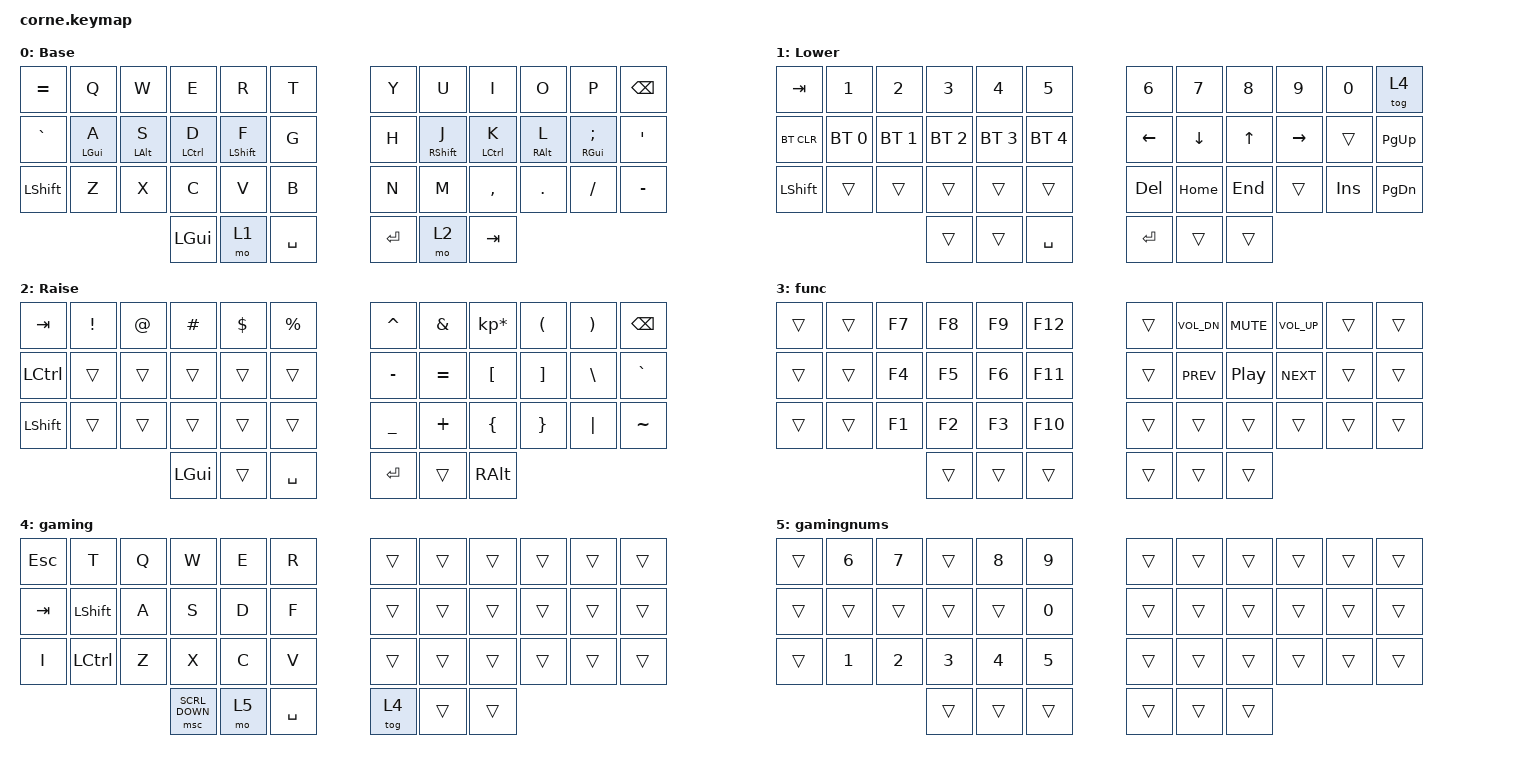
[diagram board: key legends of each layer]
/*
 * Copyright (c) 2020 The ZMK Contributors
 *
 * SPDX-License-Identifier: MIT
 */

#include <behaviors.dtsi>
#include <dt-bindings/zmk/bt.h>
#include <dt-bindings/zmk/keys.h>
#include <dt-bindings/zmk/pointing.h>

&sk { /delete-property/ ignore-modifiers; };

/ {
    combos {
        compatible = "zmk,combos";

        easy_escape {
            bindings = <&kp ESC>;
            key-positions = <19 20>;
        };

        caps_word {
            bindings = <&caps_word>;
            key-positions = <24 35>;
        };
    };

    behaviors {
        hml: hml {
            compatible = "zmk,behavior-hold-tap";
            label = "HML";
            bindings = <&kp>, <&kp>;

            #binding-cells = <2>;
            tapping-term-ms = <280>;
            quick-tap-ms = <175>;
            require-prior-idle-ms = <150>;
            flavor = "balanced";
            hold-trigger-key-positions = <39 40 41 30 18 6 7 8 9 10 11 19 20 21 22 23 31 32 33 34 35>;
            hold-trigger-on-release;
        };

        hmr: hmr {
            compatible = "zmk,behavior-hold-tap";
            label = "HMR";
            bindings = <&kp>, <&kp>;

            #binding-cells = <2>;
            tapping-term-ms = <280>;
            quick-tap-ms = <175>;
            require-prior-idle-ms = <150>;
            flavor = "balanced";
            hold-trigger-key-positions = <0 1 2 3 4 5 12 13 14 15 16 17 24 25 26 27 28 29 36 37 38>;
            hold-trigger-on-release;
        };
    };

    keymap {
        compatible = "zmk,keymap";

        default_layer {
            // -----------------------------------------------------------------------------------------
            // |  TAB |  Q  |  W  |  E  |  R  |  T  |   |  Y  |  U   |  I  |  O  |  P  | BKSP |
            // | CTRL |  A  |  S  |  D  |  F  |  G  |   |  H  |  J   |  K  |  L  |  ;  |  '   |
            // | SHFT |  Z  |  X  |  C  |  V  |  B  |   |  N  |  M   |  ,  |  .  |  /  | ESC  |
            //                    | GUI | LWR | SPC |   | ENT | RSE  | ALT |

            display-name = "Base";
            bindings = <
&kp EQUAL  &kp Q            &kp W            &kp E         &kp R              &kp T        &kp Y    &kp U               &kp I         &kp O             &kp P                     &kp BACKSPACE
&kp GRAVE  &hml LEFT_GUI A  &hml LEFT_ALT S  &hml LCTRL D  &hml LEFT_SHIFT F  &kp G        &kp H    &hmr RIGHT_SHIFT J  &hmr LCTRL K  &hmr RIGHT_ALT L  &hmr RIGHT_GUI SEMICOLON  &kp SQT
&kp LSHFT  &kp Z            &kp X            &kp C         &kp V              &kp B        &kp N    &kp M               &kp COMMA     &kp DOT           &kp FSLH                  &kp MINUS
                                             &kp LEFT_GUI  &mo 1              &kp SPACE    &kp RET  &mo 2               &kp TAB
            >;
        };

        lower_layer {
            // -----------------------------------------------------------------------------------------
            // |  TAB |  1  |  2  |  3  |  4  |  5  |   |  6  |  7  |  8  |  9  |  0  | BKSP |
            // | BTCLR| BT1 | BT2 | BT3 | BT4 | BT5 |   | LFT | DWN |  UP | RGT |     |      |
            // | SHFT |     |     |     |     |     |   |     |     |     |     |     |      |
            //                    | GUI |     | SPC |   | ENT |     | ALT |

            display-name = "Lower";
            bindings = <
&kp TAB     &kp N1        &kp N2        &kp N3        &kp N4        &kp N5          &kp N6    &kp N7    &kp N8   &kp N9     &kp N0   &tog 4
&bt BT_CLR  &bt BT_SEL 0  &bt BT_SEL 1  &bt BT_SEL 2  &bt BT_SEL 3  &bt BT_SEL 4    &kp LEFT  &kp DOWN  &kp UP   &kp RIGHT  &trans   &kp PAGE_UP
&kp LSHFT   &trans        &trans        &trans        &trans        &trans          &kp DEL   &kp HOME  &kp END  &trans     &kp INS  &kp PAGE_DOWN
                                        &trans        &trans        &kp SPACE       &kp RET   &trans    &trans
            >;
        };

        raise_layer {
            // -----------------------------------------------------------------------------------------
            // |  TAB |  !  |  @  |  #  |  $  |  %  |   |  ^  |  &  |  *  |  (  |  )  | BKSP |
            // | CTRL |     |     |     |     |     |   |  -  |  =  |  [  |  ]  |  \  |  `   |
            // | SHFT |     |     |     |     |     |   |  _  |  +  |  {  |  }  | "|" |  ~   |
            //                    | GUI |     | SPC |   | ENT |     | ALT |

            display-name = "Raise";
            bindings = <
&kp TAB    &kp EXCL  &kp AT  &kp HASH  &kp DLLR  &kp PRCNT    &kp CARET  &kp AMPS   &kp KP_MULTIPLY  &kp LPAR  &kp RPAR  &kp BSPC
&kp LCTRL  &trans    &trans  &trans    &trans    &trans       &kp MINUS  &kp EQUAL  &kp LBKT         &kp RBKT  &kp BSLH  &kp GRAVE
&kp LSHFT  &trans    &trans  &trans    &trans    &trans       &kp UNDER  &kp PLUS   &kp LBRC         &kp RBRC  &kp PIPE  &kp TILDE
                             &kp LGUI  &trans    &kp SPACE    &kp RET    &trans     &kp RALT
            >;
        };

        func {
            bindings = <
&trans  &trans  &kp F7  &kp F8  &kp F9  &kp F12    &trans  &kp C_VOL_DN  &kp C_MUTE        &kp C_VOLUME_UP  &trans  &trans
&trans  &trans  &kp F4  &kp F5  &kp F6  &kp F11    &trans  &kp C_PREV    &kp C_PLAY_PAUSE  &kp C_NEXT       &trans  &trans
&trans  &trans  &kp F1  &kp F2  &kp F3  &kp F10    &trans  &trans        &trans            &trans           &trans  &trans
                        &trans  &trans  &trans     &trans  &trans        &trans
            >;
        };

        gaming {
            bindings = <
&kp ESC  &kp T      &kp Q  &kp W           &kp E  &kp R        &trans  &trans  &trans  &trans  &trans  &trans
&kp TAB  &kp LSHFT  &kp A  &kp S           &kp D  &kp F        &trans  &trans  &trans  &trans  &trans  &trans
&kp I    &kp LCTRL  &kp Z  &kp X           &kp C  &kp V        &trans  &trans  &trans  &trans  &trans  &trans
                           &msc SCRL_DOWN  &mo 5  &kp SPACE    &tog 4  &trans  &trans
            >;
        };

        gamingnums {
            bindings = <
&trans  &kp N6  &kp N7  &trans  &kp N8  &kp N9    &trans  &trans  &trans  &trans  &trans  &trans
&trans  &trans  &trans  &trans  &trans  &kp N0    &trans  &trans  &trans  &trans  &trans  &trans
&trans  &kp N1  &kp N2  &kp N3  &kp N4  &kp N5    &trans  &trans  &trans  &trans  &trans  &trans
                        &trans  &trans  &trans    &trans  &trans  &trans
            >;
        };
    };

    conditional_layers {
        compatible = "zmk,conditional-layers";

        func_condition {
            if-layers = <1 2>;
            then-layer = <3>;
        };
    };
};
